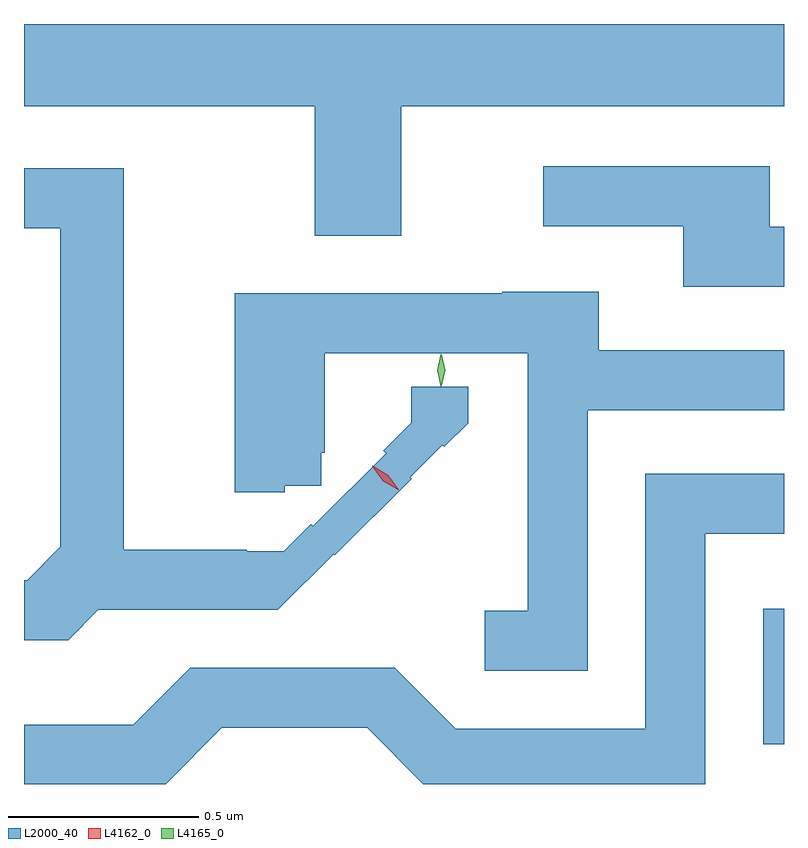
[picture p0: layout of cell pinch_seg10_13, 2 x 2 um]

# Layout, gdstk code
import gdstk
lib = gdstk.Library(unit=1e-6, precision=1e-09)
def R(c, l, rs):  # rectangles x0, y0, x1, y1
    for r in rs: c.add(gdstk.rectangle(r[:2], r[2:], *l))
def P(c, l, *ps):  # polygons
    for p in ps: c.add(gdstk.Polygon(p, *l))
L2000_40 = (2000, 40)
L4162_0 = (4162, 0)
L4165_0 = (4165, 0)

pinch_seg10_13 = lib.new_cell('pinch_seg10_13')
R(pinch_seg10_13, L2000_40, [(656.741,2105.578,656.796,2105.934)])
P(pinch_seg10_13, L2000_40, [(655.789,2107.256),(656.796,2107.256),(656.796,2107.473),(654.796,2107.473),(654.796,2107.256),(655.561,2107.256),(655.561,2106.916),(655.789,2106.916)],
  [(656.796,2106.939),(656.759,2106.939),(656.759,2107.099),(656.163,2107.099),(656.163,2106.941),(656.531,2106.941),(656.531,2106.781),(656.796,2106.781)],
  [(654.992,2105.931),(655.464,2105.931),(655.611,2106.078),(655.614,2106.075),(655.816,2106.276),(655.812,2106.28),(655.897,2106.365),(655.902,2106.36),(655.965,2106.423),(655.965,2106.518),(655.815,2106.518),(655.815,2106.424),(655.742,2106.35),(655.749,2106.343),(655.557,2106.152),(655.551,2106.157),(655.479,2106.085),(655.382,2106.085),(655.382,2106.089),(655.059,2106.089),(655.059,2107.094),(654.796,2107.094),(654.796,2106.936),(654.891,2106.936),(654.891,2106.097),(654.804,2106.009),(654.796,2106.009),(654.796,2105.851),(654.912,2105.851)],
  [(656.279,2106.456),(656.796,2106.456),(656.796,2106.614),(656.309,2106.614),(656.309,2106.769),(656.055,2106.769),(656.055,2106.764),(655.351,2106.764),(655.351,2106.241),(655.482,2106.241),(655.482,2106.258),(655.578,2106.258),(655.578,2106.345),(655.588,2106.345),(655.588,2106.606),(656.121,2106.606),(656.121,2105.929),(656.008,2105.929),(656.008,2105.771),(656.279,2105.771)],
  [(655.317,2105.621),(655.699,2105.621),(655.847,2105.473),(656.589,2105.473),(656.589,2106.131),(656.796,2106.131),(656.796,2106.289),(656.431,2106.289),(656.431,2105.619),(655.932,2105.619),(655.772,2105.779),(655.234,2105.779),(655.084,2105.629),(654.796,2105.629),(654.796,2105.473),(655.169,2105.473)])
P(pinch_seg10_13, L4162_0, [(655.776,2106.25),(655.741,2106.27),(655.72,2106.304),(655.72,2106.304),(655.72,2106.304),(655.755,2106.284),(655.776,2106.251),(655.776,2106.25)],
  [(655.781,2106.247),(655.74,2106.271),(655.713,2106.309),(655.713,2106.31),(655.714,2106.31),(655.754,2106.286),(655.782,2106.248),(655.782,2106.247)])
P(pinch_seg10_13, L4165_0, [(655.894,2106.522),(655.894,2106.523),(655.884,2106.562),(655.894,2106.602),(655.894,2106.602),(655.895,2106.602),(655.904,2106.562),(655.895,2106.523)],
  [(655.893,2106.519),(655.893,2106.52),(655.883,2106.562),(655.893,2106.604),(655.893,2106.604),(655.894,2106.604),(655.903,2106.562),(655.894,2106.52)])

lib.write_gds('pinch_seg10_13.gds')
